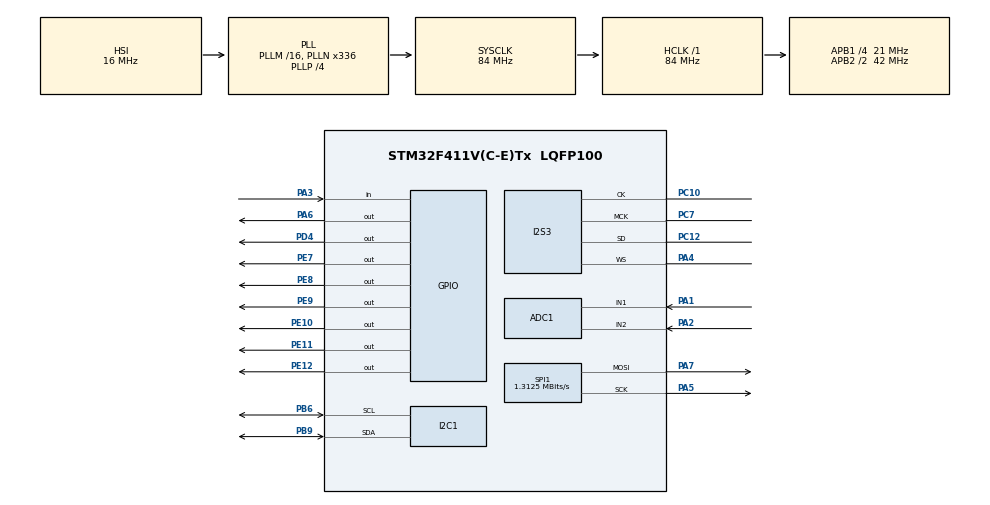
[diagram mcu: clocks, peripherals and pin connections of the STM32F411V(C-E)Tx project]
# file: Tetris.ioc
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ADC1.Channel-0\#ChannelRegularConversion=ADC_CHANNEL_1
ADC1.NbrOfConversionFlag=1
ADC1.Rank-0\#ChannelRegularConversion=1
ADC1.SamplingTime-0\#ChannelRegularConversion=ADC_SAMPLETIME_3CYCLES
ADC1.master=1
Dma.Request0=SPI3_TX
Dma.SPI3_TX.0.Direction=DMA_MEMORY_TO_PERIPH
Dma.SPI3_TX.0.FIFOMode=DMA_FIFOMODE_DISABLE
Dma.SPI3_TX.0.Instance=DMA1_Stream5
Dma.SPI3_TX.0.MemDataAlignment=DMA_MDATAALIGN_HALFWORD
Dma.SPI3_TX.0.MemInc=DMA_MINC_ENABLE
Dma.SPI3_TX.0.Mode=DMA_CIRCULAR
Dma.SPI3_TX.0.PeriphDataAlignment=DMA_PDATAALIGN_HALFWORD
Dma.SPI3_TX.0.PeriphInc=DMA_PINC_DISABLE
Dma.SPI3_TX.0.Priority=DMA_PRIORITY_HIGH
I2S3.AudioFreq=I2S_AUDIOFREQ_48K
I2S3.DataFormat=I2S_DATAFORMAT_16B
I2S3.ErrorAudioFreq=-2.34 %
I2S3.FullDuplexMode=I2S_FULLDUPLEXMODE_DISABLE
I2S3.Instance=SPI$Index
I2S3.RealAudioFreq=46.875 KHz
I2S3.VirtualMode=I2S_MODE_MASTER
Mcu.Family=STM32F4
Mcu.Name=STM32F411V(C-E)Tx
Mcu.Package=LQFP100
NVIC.DMA1_Stream5_IRQn=true\:0\:0\:false\:false\:true\:false\:true\:true
NVIC.PriorityGroup=NVIC_PRIORITYGROUP_0
PA1.Signal=ADCx_IN1
PA2.Signal=ADCx_IN2
PA3.GPIO_PuPd=GPIO_PULLUP
PA3.Signal=GPIO_Input
PA4.Mode=Half_Duplex_Master
PA4.Signal=I2S3_WS
PA5.Mode=TX_Only_Simplex_Unidirect_Master
PA5.Signal=SPI1_SCK
PA6.Signal=GPIO_Output
PA7.Mode=TX_Only_Simplex_Unidirect_Master
PA7.Signal=SPI1_MOSI
PB6.Mode=I2C
PB6.Signal=I2C1_SCL
PB9.Mode=I2C
PB9.Signal=I2C1_SDA
PC10.Mode=Half_Duplex_Master
PC10.Signal=I2S3_CK
PC12.Mode=Half_Duplex_Master
PC12.Signal=I2S3_SD
PC7.Mode=Master_Clock_Activated
PC7.Signal=I2S3_MCK
PD4.Signal=GPIO_Output
PE10.Signal=GPIO_Output
PE11.Signal=GPIO_Output
PE12.Signal=GPIO_Output
PE7.Signal=GPIO_Output
PE8.Signal=GPIO_Output
PE9.Signal=GPIO_Output
ProjectManager.HeapSize=0x200
ProjectManager.StackSize=0x400
ProjectManager.TargetToolchain=STM32CubeIDE
RCC.48MHZClocksFreq_Value=42000000
RCC.AHBFreq_Value=84000000
RCC.APB1CLKDivider=RCC_HCLK_DIV4
RCC.APB1Freq_Value=21000000
RCC.APB1TimFreq_Value=42000000
RCC.APB2CLKDivider=RCC_HCLK_DIV2
RCC.APB2Freq_Value=42000000
RCC.APB2TimFreq_Value=84000000
RCC.CortexFreq_Value=84000000
RCC.HCLKFreq_Value=84000000
RCC.HSE_VALUE=8000000
RCC.HSI_VALUE=16000000
RCC.LSE_VALUE=32768
RCC.PLLN=336
RCC.PLLP=RCC_PLLP_DIV4
RCC.PLLQ=8
RCC.SYSCLKFreq_VALUE=84000000
RCC.SYSCLKSource=RCC_SYSCLKSOURCE_PLLCLK
RCC.VCOOutputFreq_Value=336000000
SH.ADCx_IN1.0=ADC1_IN1,IN1
SH.ADCx_IN2.0=ADC1_IN2,IN2
SPI1.BaudRatePrescaler=SPI_BAUDRATEPRESCALER_32
SPI1.CalculateBaudRate=1.3125 MBits/s
SPI1.Direction=SPI_DIRECTION_2LINES
SPI1.Mode=SPI_MODE_MASTER
SPI1.VirtualType=VM_MASTER
board=STM32F411E-DISCO

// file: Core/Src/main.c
/* USER CODE BEGIN Header */
/**
  * PROJECT: STM32 TETRIS
  * BOARD: STM32F411E-DISCO
  *
  * COMPONENT REQUIREMENTS:
  * + 2 LED MATRIX DISPLAYS (MAX7219)
  * + 1 ANALOG JOYSTICK
  * + 1 LCD CHARACTER DISPLAY (HD44780)
  */
/* USER CODE END Header */
#include "main.h"
#include "adc.h"
#include "dma.h"
#include "i2c.h"
#include "i2s.h"
#include "spi.h"
#include "gpio.h"

/* USER CODE BEGIN Includes */
#include <string.h>
#include <stdlib.h>
#include <stdio.h>
/* USER CODE END Includes */

/* USER CODE BEGIN PTD */
typedef enum {
	STATE_INIT,
	STATE_SPAWN,
	STATE_PLAYING,
	STATE_STATS,
	STATE_STOPPED,
	STATE_GAMEOVER
} GameState_t;
/* USER CODE END PTD */

/* USER CODE BEGIN PD */

// PLAYER CONTROLLERS
#define BTN_PORT        GPIOA
#define BTN_ANTIROT_PIN GPIO_PIN_0    // PA0 (STM Blue Button)
#define BTN_ROT_PIN     GPIO_PIN_3    // PA3 to SW (JoyStick Center Button)
#define JS_RX_CHANNEL   ADC_CHANNEL_1 // PA1 to RX (JS Horizontal Potentiometer)
#define JS_RY_CHANNEL   ADC_CHANNEL_2 // PA2 to RY (JS Vertical Potentiometer)

// MAX7219 LED MATRIX DISPLAY DRIVER
#define MTX_PORT     GPIOA
#define MTX_CS_PIN   GPIO_PIN_6 // PA6 to CS (MAX7219 Chip Select) (Load)
								// PA5 to DIN (MAX7219 Data Input)
								// PA7 to CLK (MAX7219 Clock)

// AUDIO
#define AUDIO_RESET_PORT GPIOD
#define AUDIO_RESET_PIN  GPIO_PIN_4 // PD4 (STM 3.5mm Mini-Jack Port)

// LCD
#define LCD_PORT   GPIOE
#define RS_PIN     GPIO_PIN_7
#define E_PIN      GPIO_PIN_8
#define D4_PIN     GPIO_PIN_9
#define D5_PIN     GPIO_PIN_10
#define D6_PIN     GPIO_PIN_11
#define D7_PIN     GPIO_PIN_12

// REGISTER ADDRESSES
#define REG_SHUTDOWN    0x0C
#define REG_SCAN_LIMIT  0x0B
#define REG_DECODE_MODE 0x09
#define REG_INTENSITY   0x0A
#define REG_DISPLAY_TEST 0x0F
#define CS43L22_ADDR    0x94

// GAME PARAMETERS
#define NUM_MODULES     2
#define TOTAL_ROWS      16
#define TOTAL_COLS      8
#define DEBOUNCE_DELAY  50
#define JS_LOW          800
#define JS_HIGH         3000
#define DROP_POINTS     1
#define FULLROW_POINTS  40
#define LNS_CLR_NXT_LVL 4
#define NUM_SHAPES      7

// LCD Custom Characters
// 0:I, 1:J, 2:L, 3:O, 4:S, 5:T, 6:Z
const uint8_t TETRIS_LCD_CHARS[NUM_SHAPES][8] = {
	{ // 0: I
		0b01110,
		0b01110,
		0b01110,
		0b01110,
		0b01110,
		0b01110,
		0b01110,
		0b01110
    },
    { // 1: J
    	0b00111,
		0b00111,
		0b00111,
		0b00111,
		0b11111,
		0b11111,
		0b11111,
		0b00000
    },
    { // 2: L
    	0b11100,
		0b11100,
		0b11100,
		0b11100,
		0b11111,
		0b11111,
		0b11111,
		0b00000
    },
    { // 3: O
    	0b11111,
		0b11111,
		0b11111,
		0b11111,
		0b11111,
		0b11111,
		0b11111,
		0b00000
    },
    { // 4: S
    	0b01111,
		0b01111,
		0b01111,
		0b11110,
		0b11110,
		0b11110,
		0b00000,
		0b00000
    },
    { // 5: T
    	0b11111,
		0b11111,
		0b11111,
		0b00100,
		0b00100,
		0b00100,
		0b00100,
		0b00000
    },
    { // 6: Z
    	0b11110,
		0b11110,
		0b11110,
		0b01111,
		0b01111,
		0b01111,
		0b00000,
		0b00000
    }
};
/* USER CODE END PD */

/* USER CODE BEGIN PV */
// External Handles (Defined in their respective .c files)
extern SPI_HandleTypeDef hspi1;
extern ADC_HandleTypeDef hadc1;
extern I2C_HandleTypeDef hi2c1;
extern I2S_HandleTypeDef hi2s3;

// MAX7219 LED Matrix Display Custom Shapes
//	0:I, 1:J, 2:L, 3:O, 4:S, 5:T, 6:Z
const int8_t SHAPES[NUM_SHAPES][8] = {
//  {x1,y1,   x2,y2,   x3,y3,   x4,y4}
	{-1, 0,   0, 0,   1, 0,   2, 0}, // I
    {-1,-1,  -1, 0,   0, 0,   1, 0}, // J
    {-1, 0,   0, 0,   1, 0,   1,-1}, // L
	{ 0, 0,   1, 0,   0,-1,   1,-1}, // O
	{-1, 0,   0, 0,   0,-1,   1,-1}, // S
	{ 0,-1,  -1, 0,   0, 0,   1, 0}, // T
	{-1,-1,   0,-1,   0, 0,   1, 0}  // Z
};
const uint8_t START_ICON_1[8] = {
    0b00001111,
    0b00001001,
    0b11111001,
    0b10000001,
    0b10000001,
    0b11111001,
    0b00001001,
    0b00001111
};
const uint8_t START_ICON_2[8] = {
    0b00000000,
    0b00000110,
    0b00000110,
    0b01111110,
    0b01111110,
    0b00000110,
    0b00000110,
    0b00000000
};
const uint8_t GAMEOVER_ICON_1[8] = {
    0b10000001,
    0b01000010,
    0b00100100,
    0b00011000,
    0b00011000,
    0b00100100,
    0b01000010,
    0b10000001
};
const uint8_t GAMEOVER_ICON_2[8] = {
    0b01000010,
    0b10100101,
    0b01011010,
    0b00100100,
    0b00100100,
    0b01011010,
    0b10100101,
    0b01000010
};

// Game State variables
GameState_t current_state = STATE_INIT;
int8_t pivot_x = 0;
int8_t pivot_y = 0;
int8_t active_shape_coords[8];
uint8_t current_shape_id = 3;

// Display Memory variables
uint8_t display_buffer[TOTAL_ROWS];
uint8_t locked_buffer[TOTAL_ROWS];
int16_t dma_tone_buffer[192];

// Timing variables
uint32_t last_input_time = 0;
uint32_t last_gravity_time = 0;
uint32_t gravity_speed = 500; // The lower the faster
uint32_t beep_start_time = 0;
uint16_t beep_total_duration = 0;

// Stats variables
volatile uint8_t game_level = 1;
volatile uint8_t next_shape_id = 0;
volatile uint32_t game_score = 0;
volatile uint32_t total_lines_cleared = 0;
volatile uint8_t beeping = 0;
/* USER CODE END PV */

void SystemClock_Config(void);
/* USER CODE BEGIN PFP */

// MAX7219 LED Matrix Display Functions
void Screen_Init(void);
void MAX7219_Flush(void);
void MAX7219_Clear(uint8_t* buffer);
void MAX7219_SetPixel(uint8_t* buffer, int8_t x, int8_t y, uint8_t state);
uint8_t MAX7219_GetPixel(uint8_t* buffer, int8_t x, int8_t y);
uint32_t Read_ADC_Channel(uint32_t channel);

// Helper Functions
int8_t Wrap_Coordinate(int8_t x);
uint8_t Check_Pixel_Collision(int8_t x, int8_t y);
uint8_t Check_Full_Rows(void);

// Tetromino Functions
void Tetromino_Spawn(uint8_t shape_id);
uint8_t Tetromino_CheckCollision(int8_t target_pivot_x, int8_t target_pivot_y);
void Tetromino_Lock(void);
void Tetromino_Draw(uint8_t* buffer);
void Tetromino_Rotate(int8_t direction); // +1 or -1

// LCD Display Functions
void LCD_Init(void);
void LCD_SendCommand(uint8_t cmd);
void LCD_SendData(uint8_t data);
void LCD_SendString(char *str);
void LCD_SetCursor(uint8_t row, uint8_t col);
void LCD_LoadCustomChars(void);
void LCD_UpdateStats(void);

// Audio Functions
void Audio_Init(void);
void Audio_Beep(uint16_t duration_ms);
void Audio_Update(void);
/* USER CODE END PFP */

int main(void)
{

  /* MCU Configuration--------------------------------------------------------*/

  /* Reset of all peripherals, Initializes the Flash interface and the Systick. */
  HAL_Init();

  /* Configure the system clock */
  SystemClock_Config();

  /* Initialize all configured peripherals */
  MX_GPIO_Init();
  MX_DMA_Init();
  MX_SPI1_Init();
  MX_ADC1_Init();
  MX_I2C1_Init();
  MX_I2S3_Init();
  /* USER CODE BEGIN 2 */

  // Hardware Initialization (Run once)
  Screen_Init();
  Audio_Init();
  LCD_Init();
  LCD_LoadCustomChars();

  // Seed random
  srand(HAL_GetTick() + Read_ADC_Channel(JS_RX_CHANNEL));

  /* USER CODE END 2 */

  /* Infinite loop */
  /* USER CODE BEGIN WHILE */
  while (1)
    {
	  uint32_t now = HAL_GetTick();
	  Audio_Update();

  	  // Emergency Stop = Clockwise + Anti-clockwise rotation buttons pressed together
	  if (current_state != STATE_STOPPED &&
  	  HAL_GPIO_ReadPin(BTN_PORT, BTN_ANTIROT_PIN) == GPIO_PIN_SET &&
  	  HAL_GPIO_ReadPin(BTN_PORT, BTN_ROT_PIN) == GPIO_PIN_RESET) {
  		  current_state = STATE_STOPPED;
  	      uint32_t stop_time = HAL_GetTick();
  	      while((HAL_GetTick() - stop_time) < DEBOUNCE_DELAY);
  	  }
      switch (current_state)
      {
          case STATE_INIT:
          {
        	  // Start Animation
        	  uint8_t frame_index = (now >> 9) & 1;
        	  static uint32_t last_frame_time = 0;

        	  if (now - last_frame_time > 100) {
        		  const uint8_t* current_icon = (frame_index) ? START_ICON_2 : START_ICON_1;
        		  memcpy(&display_buffer[0], current_icon, 8);
        		  memcpy(&display_buffer[8], current_icon, 8);
        		  MAX7219_Flush();
        		  last_frame_time = now;
        	  }
        	  static uint8_t start_ok = 0;

        	  if (HAL_GPIO_ReadPin(BTN_PORT, BTN_ANTIROT_PIN) == GPIO_PIN_RESET &&
        	  HAL_GPIO_ReadPin(BTN_PORT, BTN_ROT_PIN) == GPIO_PIN_SET) {
        	      start_ok = 1;
        	  }
        	  if (start_ok) {
        		  if (HAL_GPIO_ReadPin(BTN_PORT, BTN_ANTIROT_PIN) == GPIO_PIN_SET ||
        		  HAL_GPIO_ReadPin(BTN_PORT, BTN_ROT_PIN) == GPIO_PIN_RESET) {

        			  Audio_Beep(500);
        			  uint32_t tick = HAL_GetTick();
        			  while((HAL_GetTick() - tick) < DEBOUNCE_DELAY);

        			  // Reset Game Variables
        			  game_score = 0;
        			  game_level = 1;
        			  total_lines_cleared = 0;
        			  gravity_speed = 500;
        			  next_shape_id = rand() % NUM_SHAPES;

        			  MAX7219_Clear(locked_buffer);
        			  MAX7219_Clear(display_buffer);
        			  LCD_UpdateStats();

        			  start_ok = 0;
        			  current_state = STATE_SPAWN;
        		  }
        	  }
              break;
      	  }

          case STATE_SPAWN:
          {
              Tetromino_Spawn(next_shape_id);
              uint8_t collision = Tetromino_CheckCollision(pivot_x, pivot_y);
              if (collision) {
            	  Audio_Beep(300);
            	  current_state = STATE_GAMEOVER;
              } else {
                  last_gravity_time = HAL_GetTick();
                  current_state = STATE_PLAYING;
              }
              break;
          }

          case STATE_PLAYING:
          {
              // Gravity Logic
              if (now - last_gravity_time > gravity_speed) {
            	  uint8_t collision = Tetromino_CheckCollision(pivot_x, pivot_y+1);
            	  if (collision) {
                	  // Lock Piece
                	  Tetromino_Lock();
                	  Audio_Beep(50);
                	  current_state = STATE_STATS;
                  } else {
            		  // Continue Playing Logic
                	  pivot_y++;
                      game_score += DROP_POINTS;
                  }
            	  last_gravity_time = now;
              }
              // Joystick Input
              if (now - last_input_time > DEBOUNCE_DELAY) {
                  uint32_t val_x = Read_ADC_Channel(JS_RX_CHANNEL);
                  uint32_t val_y = Read_ADC_Channel(JS_RY_CHANNEL);
                  int8_t next_x = pivot_x;

                  // X Movement
                  if (val_x < JS_LOW) next_x--;
                  else if (val_x > JS_HIGH) next_x++;
                  if(next_x < 0) next_x = TOTAL_COLS - 1;
                  if(next_x >= TOTAL_COLS) next_x = 0;
                  if (!Tetromino_CheckCollision(next_x, pivot_y)) pivot_x = next_x;

                  // Y Movement (Drop)
                  if (val_y > JS_HIGH) {
                      if (!Tetromino_CheckCollision(pivot_x, pivot_y + 1)) {
                          pivot_y++;
                          game_score += DROP_POINTS;
                      }
                  }
                  last_input_time = now;
              }
              // Anti-Clockwise Rotation
              static uint8_t antirot_latch = 0;
              if (HAL_GPIO_ReadPin(BTN_PORT, BTN_ANTIROT_PIN) == GPIO_PIN_SET) {
            	  if (antirot_latch == 0) {
            		  Tetromino_Rotate(-1);
                      antirot_latch = 1;
                  }
              } else {
            	  antirot_latch = 0;
              }
              // Clockwise Rotation
              static uint8_t rot_latch = 0;
              if (HAL_GPIO_ReadPin(BTN_PORT, BTN_ROT_PIN) == GPIO_PIN_RESET) {
            	  if (rot_latch == 0) {
            		  Tetromino_Rotate(1);
                      rot_latch = 1;
                  }
              } else {
            	  rot_latch = 0;
              }
              // LED Matrix Render
              memcpy(display_buffer, locked_buffer, sizeof(locked_buffer));
              Tetromino_Draw(display_buffer);
              MAX7219_Flush();
              break;
          }

          case STATE_STATS:
          {
        	  uint8_t lines_cleared = Check_Full_Rows();
        	  if (lines_cleared > 0) {
        		  game_score += (lines_cleared * FULLROW_POINTS * game_level);
        		  total_lines_cleared += lines_cleared;
        		  // Level Up Logic
                  if (total_lines_cleared >= (game_level * LNS_CLR_NXT_LVL)) {
                	  game_level++;
                	  if (gravity_speed > 100) {
                		  gravity_speed -= 50;
                	  }
                	  Audio_Beep(600);
                  }
                  else {
                	  Audio_Beep(300);
                  }
        	  }
              // We update the next_shape_id variable which LCD_UpdateStats reads
              next_shape_id = rand() % NUM_SHAPES;
              // Update the LCD with the new score, level and next shape
              LCD_UpdateStats();

              uint8_t stats_ok = 1;
              if (stats_ok) {
            	  current_state = STATE_SPAWN;
              }
              break;
          }

          case STATE_STOPPED:
          {
        	  MAX7219_Clear(display_buffer);
        	  MAX7219_Flush();

              static uint8_t restart_ok = 0;

              if (HAL_GPIO_ReadPin(BTN_PORT, BTN_ANTIROT_PIN) == GPIO_PIN_RESET &&
              HAL_GPIO_ReadPin(BTN_PORT, BTN_ROT_PIN) == GPIO_PIN_SET) {
            	  restart_ok = 1;
              }
              if (restart_ok) {
            	  if (HAL_GPIO_ReadPin(BTN_PORT, BTN_ANTIROT_PIN) == GPIO_PIN_SET ||
            	  HAL_GPIO_ReadPin(BTN_PORT, BTN_ROT_PIN) == GPIO_PIN_RESET) {

            		  uint32_t tick = HAL_GetTick();
            		  while((HAL_GetTick() - tick) < DEBOUNCE_DELAY);

            		  restart_ok = 0;
            		  current_state = STATE_INIT;
            	  }
              }
              break;
          }

          case STATE_GAMEOVER:
          {
              // GameOver Animation
        	  Audio_Beep(100);
              uint8_t frame_index = (now >> 9) & 1;
              static uint32_t last_frame_time = 0;

              if (now - last_frame_time > 100) {
            	  const uint8_t* current_icon = (frame_index) ? GAMEOVER_ICON_2 : GAMEOVER_ICON_1;
                  memcpy(&display_buffer[0], current_icon, 8);
                  memcpy(&display_buffer[8], current_icon, 8);
                  MAX7219_Flush();
                  last_frame_time = now;
              }
              static uint8_t restart_ok = 0;

              if (HAL_GPIO_ReadPin(BTN_PORT, BTN_ANTIROT_PIN) == GPIO_PIN_RESET &&
              HAL_GPIO_ReadPin(BTN_PORT, BTN_ROT_PIN) == GPIO_PIN_SET) {
            	  restart_ok = 1;
              }
              if (restart_ok) {
            	  if (HAL_GPIO_ReadPin(BTN_PORT, BTN_ANTIROT_PIN) == GPIO_PIN_SET ||
            	  HAL_GPIO_ReadPin(BTN_PORT, BTN_ROT_PIN) == GPIO_PIN_RESET) {

            		  uint32_t tick = HAL_GetTick();
            		  while((HAL_GetTick() - tick) < DEBOUNCE_DELAY);

            		  restart_ok = 0;
            		  current_state = STATE_INIT;
            	  }
              }
              break;
          }
      }
    /* USER CODE END WHILE */

  }
}

void SystemClock_Config(void)
{
  RCC_OscInitTypeDef RCC_OscInitStruct = {0};
  RCC_ClkInitTypeDef RCC_ClkInitStruct = {0};

  /** Configure the main internal regulator output voltage
  */
  __HAL_RCC_PWR_CLK_ENABLE();
  __HAL_PWR_VOLTAGESCALING_CONFIG(PWR_REGULATOR_VOLTAGE_SCALE1);

  /** Initializes the RCC Oscillators according to the specified parameters
  * in the RCC_OscInitTypeDef structure.
  */
  RCC_OscInitStruct.OscillatorType = RCC_OSCILLATORTYPE_HSI;
  RCC_OscInitStruct.HSIState = RCC_HSI_ON;
  RCC_OscInitStruct.HSICalibrationValue = RCC_HSICALIBRATION_DEFAULT;
  RCC_OscInitStruct.PLL.PLLState = RCC_PLL_ON;
  RCC_OscInitStruct.PLL.PLLSource = RCC_PLLSOURCE_HSI;
  RCC_OscInitStruct.PLL.PLLM = 16;
  RCC_OscInitStruct.PLL.PLLN = 336;
  RCC_OscInitStruct.PLL.PLLP = RCC_PLLP_DIV4;
  RCC_OscInitStruct.PLL.PLLQ = 8;
  if (HAL_RCC_OscConfig(&RCC_OscInitStruct) != HAL_OK)
  {
    Error_Handler();
  }

  /** Initializes the CPU, AHB and APB buses clocks
  */
  RCC_ClkInitStruct.ClockType = RCC_CLOCKTYPE_HCLK|RCC_CLOCKTYPE_SYSCLK
                              |RCC_CLOCKTYPE_PCLK1|RCC_CLOCKTYPE_PCLK2;
  RCC_ClkInitStruct.SYSCLKSource = RCC_SYSCLKSOURCE_PLLCLK;
  RCC_ClkInitStruct.AHBCLKDivider = RCC_SYSCLK_DIV1;
  RCC_ClkInitStruct.APB1CLKDivider = RCC_HCLK_DIV4;
  RCC_ClkInitStruct.APB2CLKDivider = RCC_HCLK_DIV2;

  if (HAL_RCC_ClockConfig(&RCC_ClkInitStruct, FLASH_LATENCY_2) != HAL_OK)
  {
    Error_Handler();
  }
}

/* USER CODE BEGIN 4 */

/* MAX7219 LED MATRIX DISPLAY FUNCTIONS */
void Screen_Init(void) {
    uint8_t commands[][2] = {
    	{REG_DISPLAY_TEST, 0x00},
		{REG_SHUTDOWN, 0x01},
		{REG_SCAN_LIMIT, 0x07},
		{REG_DECODE_MODE, 0x00},

		// To change brightness,
		// change the next "0x--}" to:
		// 0x00} = Min.
		// 0x02} = Medium
		// 0x04} = High
		{REG_INTENSITY, 0x01} // Brightness level
    };
    for (int c = 0; c < 5; c++) {
    	HAL_GPIO_WritePin(MTX_PORT, MTX_CS_PIN, GPIO_PIN_RESET);
        for(int m=0; m<NUM_MODULES; m++) {
        	HAL_SPI_Transmit(&hspi1, &commands[c][0], 1, 10);
        	HAL_SPI_Transmit(&hspi1, &commands[c][1], 1, 10);
        }
        HAL_GPIO_WritePin(MTX_PORT, MTX_CS_PIN, GPIO_PIN_SET);
    }
}

void MAX7219_Flush(void) {
    uint8_t packet[4]; // Buffer for [Addr2, Data2, Addr1, Data1]

    for (uint8_t i = 0; i < 8; i++) {
    	uint8_t addr = i + 1;

    	// Module 2 Top-Left shifted out first
        packet[0] = addr;
        packet[1] = display_buffer[8 + i];
        // Module 1 Bottom-Right shifted out last
        packet[2] = addr;
        packet[3] = display_buffer[i];

        HAL_GPIO_WritePin(MTX_PORT, MTX_CS_PIN, GPIO_PIN_RESET);
        HAL_SPI_Transmit(&hspi1, packet, 4, 10);
        HAL_GPIO_WritePin(MTX_PORT, MTX_CS_PIN, GPIO_PIN_SET);
    }
}

void MAX7219_Clear(uint8_t* buffer) { memset(buffer, 0, TOTAL_ROWS); }

void MAX7219_SetPixel(uint8_t* buffer, int8_t x, int8_t y, uint8_t state) {
    if (x < 0 || x >= TOTAL_COLS || y < 0 || y >= TOTAL_ROWS) return;
    uint8_t module_offset = (y < 8) ? 8 : 0;
    int8_t local_y = (y < 8) ? y : y - 8;
    if (state) buffer[module_offset + x] |= (1 << local_y);
    else       buffer[module_offset + x] &= ~(1 << local_y);
}

uint8_t MAX7219_GetPixel(uint8_t* buffer, int8_t x, int8_t y) {
    if (x < 0 || x >= TOTAL_COLS || y < 0 || y >= TOTAL_ROWS) return 0;
    uint8_t module_offset = (y < 8) ? 8 : 0;
    int8_t local_y = (y < 8) ? y : y - 8;
    return (buffer[module_offset + x] & (1 << local_y)) ? 1 : 0;
}

uint32_t Read_ADC_Channel(uint32_t channel) {
    ADC_ChannelConfTypeDef sConfig = {0};
    sConfig.Channel = channel;
    sConfig.Rank = 1;
    sConfig.SamplingTime = ADC_SAMPLETIME_84CYCLES;
    if (HAL_ADC_ConfigChannel(&hadc1, &sConfig) != HAL_OK) Error_Handler();
    HAL_ADC_Start(&hadc1);
    if (HAL_ADC_PollForConversion(&hadc1, 10) == HAL_OK) {
        uint32_t val = HAL_ADC_GetValue(&hadc1);
        HAL_ADC_Stop(&hadc1);
        return val;
    }
    HAL_ADC_Stop(&hadc1);
    return 2048;
}

/* BASE GAME LOGIC FUNCTIONS */
int8_t Wrap_Coordinate(int8_t x) {
    return (x % TOTAL_COLS + TOTAL_COLS) % TOTAL_COLS;
}

uint8_t Check_Pixel_Collision(int8_t x, int8_t y) {
    if (y >= TOTAL_ROWS) return 1;
    if (MAX7219_GetPixel(locked_buffer, x, y)) return 1;
    return 0;
}

uint8_t Check_Full_Rows(void) {
    uint8_t fr_count = 0;

    for (int8_t y = TOTAL_ROWS - 1; y >= 0; y--) {
        uint8_t row_full = 1;

        for (uint8_t x = 0; x < TOTAL_COLS; x++) {
            if (MAX7219_GetPixel(locked_buffer, x, y) == 0) {
                row_full = 0;
                break;
            }
        }
        if (row_full) {
            fr_count++;
            // Move all rows above this one down
            for (int8_t k = y; k > 0; k--) {
                for (uint8_t x = 0; x < TOTAL_COLS; x++) {
                    uint8_t pixel_above = MAX7219_GetPixel(locked_buffer, x, k - 1);
                    MAX7219_SetPixel(locked_buffer, x, k, pixel_above);
                }
            }
            // Clear top row
            for (uint8_t x = 0; x < TOTAL_COLS; x++) {
                MAX7219_SetPixel(locked_buffer, x, 0, 0);
            }
            y++;
        }
    }
    return fr_count;
}

/* TETROMINO FUNCTIONS */
void Tetromino_Spawn(uint8_t shape_id) {
    if (shape_id >= NUM_SHAPES) shape_id = 0;
    memcpy(active_shape_coords, SHAPES[shape_id], 8);
    pivot_x = 3; pivot_y = 0; current_shape_id = shape_id;
}

uint8_t Tetromino_CheckCollision(int8_t target_pivot_x, int8_t target_pivot_y) {
    for (int i = 0; i < 4; i++) {
        int8_t raw_x = target_pivot_x + active_shape_coords[i*2];
        int8_t block_y = target_pivot_y + active_shape_coords[i*2 + 1];
        int8_t block_x = Wrap_Coordinate(raw_x);
        if (Check_Pixel_Collision(block_x, block_y)) return 1;
    }
    return 0;
}

void Tetromino_Lock(void) {
    for (int i = 0; i < 4; i++) {
        int8_t raw_x = pivot_x + active_shape_coords[i*2];
        int8_t block_y = pivot_y + active_shape_coords[i*2 + 1];
        int8_t block_x = Wrap_Coordinate(raw_x);
        MAX7219_SetPixel(locked_buffer, block_x, block_y, 1);
    }
}

void Tetromino_Draw(uint8_t* buffer) {
    for (int i = 0; i < 4; i++) {
        int8_t raw_x = pivot_x + active_shape_coords[i*2];
        int8_t block_y = pivot_y + active_shape_coords[i*2 + 1];
        int8_t block_x = Wrap_Coordinate(raw_x);
        MAX7219_SetPixel(buffer, block_x, block_y, 1);
    }
}

void Tetromino_Rotate(int8_t direction) {
	if (current_shape_id == 3) return;
	int8_t temp_coords[8];
    for (int i = 0; i < 4; i++) {
        int8_t old_x = active_shape_coords[i * 2];
        int8_t old_y = active_shape_coords[i * 2 + 1];

        if (direction > 0) {
            // Clockwise: (x, y) to (-y, x)
            temp_coords[i * 2]     = old_y;
            temp_coords[i * 2 + 1] = -old_x;
        } else {
            // Anti-Clockwise: (x, y) to (y, -x)
            temp_coords[i * 2]     = -old_y;
            temp_coords[i * 2 + 1] = old_x;
        }
    }

    // Check collisions to validate the possible new rotation
    uint8_t rot_ok = 1;
    for (int i = 0; i < 4; i++) {
        int8_t raw_x = pivot_x + temp_coords[i*2];
        int8_t block_y = pivot_y + temp_coords[i*2 + 1];
        int8_t block_x = Wrap_Coordinate(raw_x);
        if (Check_Pixel_Collision(block_x, block_y)) {
            rot_ok = 0;
            break;
        }
    }
    if (rot_ok) memcpy(active_shape_coords, temp_coords, 8);
}

/* LCD FUNCTIONS */

void LCD_Send4Bits(uint8_t val) {
    HAL_GPIO_WritePin(LCD_PORT, D4_PIN, (val >> 0) & 0x01);
    HAL_GPIO_WritePin(LCD_PORT, D5_PIN, (val >> 1) & 0x01);
    HAL_GPIO_WritePin(LCD_PORT, D6_PIN, (val >> 2) & 0x01);
    HAL_GPIO_WritePin(LCD_PORT, D7_PIN, (val >> 3) & 0x01);
}

void LCD_EnablePulse(void) {
    HAL_GPIO_WritePin(LCD_PORT, E_PIN, GPIO_PIN_SET);
    HAL_Delay(1);
    HAL_GPIO_WritePin(LCD_PORT, E_PIN, GPIO_PIN_RESET);
    HAL_Delay(1);
}

void LCD_SendCommand(uint8_t cmd) {
    HAL_GPIO_WritePin(LCD_PORT, RS_PIN, GPIO_PIN_RESET);
    LCD_Send4Bits(cmd >> 4);
    LCD_EnablePulse();
    LCD_Send4Bits(cmd);
    LCD_EnablePulse();
}

void LCD_SendData(uint8_t data) {
    HAL_GPIO_WritePin(LCD_PORT, RS_PIN, GPIO_PIN_SET);
    LCD_Send4Bits(data >> 4);
    LCD_EnablePulse();
    LCD_Send4Bits(data);
    LCD_EnablePulse();
}

void LCD_Init(void) {
    HAL_Delay(50);
    HAL_GPIO_WritePin(LCD_PORT, RS_PIN, GPIO_PIN_RESET);

    LCD_Send4Bits(0x03); LCD_EnablePulse(); HAL_Delay(5);
    LCD_Send4Bits(0x03); LCD_EnablePulse(); HAL_Delay(1);
    LCD_Send4Bits(0x03); LCD_EnablePulse(); HAL_Delay(1);
    LCD_Send4Bits(0x02); LCD_EnablePulse();

    LCD_SendCommand(0x28); // 4-bit, 2 líneas, 5x8
    LCD_SendCommand(0x08); // Display OFF
    LCD_SendCommand(0x01); // Clear
    HAL_Delay(2);
    LCD_SendCommand(0x06); // Entry mode
    LCD_SendCommand(0x0C); // Display ON
}

void LCD_LoadCustomChars(void) {
    LCD_SendCommand(0x40);
    for (int i = 0; i < 7; i++) {
        for (int j = 0; j < 8; j++) {
            LCD_SendData(TETRIS_LCD_CHARS[i][j]);
        }
    }
    LCD_SendCommand(0x80);
}

void LCD_SendString(char *str) {
    while (*str) LCD_SendData(*str++);
}

void LCD_SetCursor(uint8_t row, uint8_t col) {
    uint8_t address = (row == 0) ? (0x80 + col) : (0xC0 + col);
    LCD_SendCommand(address);
}

void LCD_UpdateStats(void) {
    char buffer[16];
    LCD_SetCursor(0, 0);
    sprintf(buffer, "Score:%lu   ", game_score);
    LCD_SendString(buffer);

    LCD_SetCursor(1, 0);
    sprintf(buffer, "Lvl:%d Next:", game_level);
    LCD_SendString(buffer);
    LCD_SendData(next_shape_id);
    LCD_SendString(" ");
}

/* AUDIO FUNCTIONS */
void Audio_Init(void) {
	uint32_t start_tick;

    HAL_GPIO_WritePin(AUDIO_RESET_PORT, AUDIO_RESET_PIN, GPIO_PIN_RESET);
	start_tick = HAL_GetTick();
    while((HAL_GetTick() - start_tick) < 10);
    HAL_GPIO_WritePin(AUDIO_RESET_PORT, AUDIO_RESET_PIN, GPIO_PIN_SET);
	start_tick = HAL_GetTick();
    while((HAL_GetTick() - start_tick) < 10);

    // Init Sequence (Starts Muted)
    uint8_t cmds[15][2] = {
        {0x02, 0x01}, // Power DOWN
        {0x00, 0x99}, {0x47, 0x80}, {0x32, 0xBB}, {0x32, 0x3B}, {0x00, 0x00},
        {0x04, 0x92}, {0x05, 0x00}, {0x06, 0x44}, {0x27, 0x00},

        // To change volume,
		// change the four next "0x--}" to:
		// 0x18} = MAX
		// 0x10} = High
		// 0x0A} = Medium
        {0x1A, 0x18}, {0x1B, 0x18}, {0x20, 0x18}, {0x21, 0x18}, // Volume level

        {0x02, 0x9E}  // Power UP
    };

    for (int i = 0; i < 15; i++) {
        HAL_I2C_Master_Transmit(&hi2c1, CS43L22_ADDR, cmds[i], 2, 100);
        start_tick = HAL_GetTick();
        while((HAL_GetTick() - start_tick) < 5);
    }
}

void Audio_Beep(uint16_t duration_ms) {
    if (beeping) {
        HAL_I2S_DMAStop(&hi2s3);
    }
    for (int i = 0; i < 192; i++) {
        dma_tone_buffer[i] = (i < 96) ? 32000 : -32000;
    }
    uint8_t unmute_cmd[] = {0x06, 0x04};
    HAL_I2C_Master_Transmit(&hi2c1, CS43L22_ADDR, unmute_cmd, 2, 10);
    HAL_I2S_Transmit_DMA(&hi2s3, (uint16_t*)dma_tone_buffer, 192);

    beeping = 1;
    beep_start_time = HAL_GetTick();
    beep_total_duration = duration_ms;
}

void Audio_Update(void) {
    // If we are beeping passed the time we mute it
    if (beeping && (HAL_GetTick() - beep_start_time >= beep_total_duration)) {

        HAL_I2S_DMAStop(&hi2s3);
        uint8_t mute_cmd[] = {0x06, 0x44};
        HAL_I2C_Master_Transmit(&hi2c1, CS43L22_ADDR, mute_cmd, 2, 10);
        beeping = 0;
    }
}
/* USER CODE END 4 */

void Error_Handler(void)
{
  __disable_irq();
  while (1)
  {
  }
}
